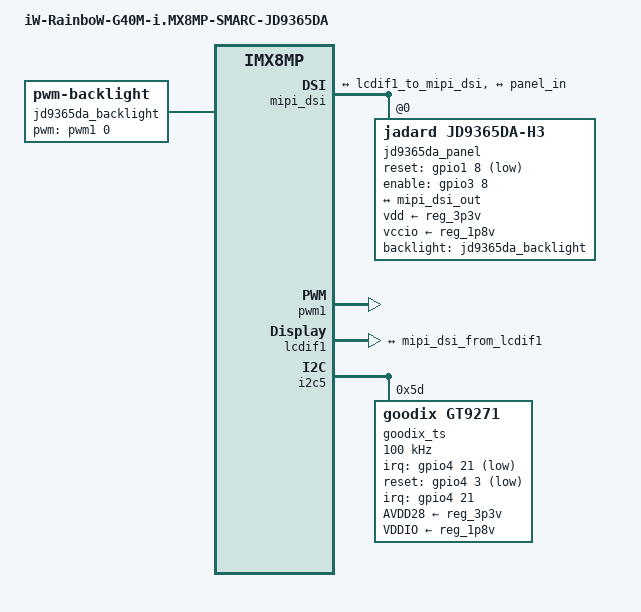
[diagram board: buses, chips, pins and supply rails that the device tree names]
// SPDX-License-Identifier: (GPL-2.0+ OR MIT)
/*
 * Copyright (C) 2024 iWave Systems Technologies Pvt Ltd.
 */

/dts-v1/;

#include "imx8mp-iwg40d-prgwd.dts"

/ {
	model = "iW-RainboW-G40M-i.MX8MP-SMARC-JD9365DA";
	compatible = "fsl,imx8mp-iwg40m", "fsl,imx8mp";

	/* JD9365DA 전용 백라이트 */
	/*
	jd9365da_backlight: jd9365da_backlight {
		compatible = "pwm-backlight";
		pwms = <&pwm1 0 100000 0>;
		power-supply = <&reg_1p8v>;
		status = "okay";
		
		brightness-levels = <0 1 2 3 4 5 6 7 8 9 10 11 12 13 14 15 16 17 18 19 20>;
		default-brightness-level = <15>;
	};
	*/
	/* JD9365DA 전용 백라이트 - 수정된 설정 */
	jd9365da_backlight: jd9365da_backlight {
		compatible = "pwm-backlight";
		
		//pwms = <&pwm1 0 50000 0>;		/* 20kHz (50000ns) - 깜빡임 방지 */
		pwms = <&pwm1 0 25000 0>;       // 40kHz

		//power-supply = <&reg_1p8v>;
		status = "okay";
		
		/* 0-100 범위로 확장 (101단계) */
		//brightness-levels = < 0  1  2  3  4  5  6  7  8  9
		//                     10 11 12 13 14 15 16 17 18 19
		//                     20 21 22 23 24 25 26 27 28 29
		//                     30 31 32 33 34 35 36 37 38 39
		//                     40 41 42 43 44 45 46 47 48 49
		//                     50 51 52 53 54 55 56 57 58 59
		//                     60 61 62 63 64 65 66 67 68 69
		//                     70 71 72 73 74 75 76 77 78 79
		//                     80 81 82 83 84 85 86 87 88 89
		//                     90 91 92 93 94 95 96 97 98 99
		//                    100>;
		//default-brightness-level = <70>;	/* 70% 기본 밝기 */
		brightness-levels = <
			  0  20  20  21  21  22  22  23
			 23  24  24  25  25  26  26  27
			 27  28  28  29  29  30  30  31
			 31  32  32  33  33  34  34  35
			 35  36  36  37  37  38  38  39
			 40  41  42  43  44  45  46  47
			 48  49  50  51  52  53  54  55
			 56  57  58  59  60  61  62  63
			 64  65  66  67  68  69  70  71
			 72  73  74  75  76  77  78  79
			 80  81  82  83  84  85  86  87
			 88  89  90  91  92  93  94  95
			 96  97  98  99 100 101 102 103
			104 105 106 107 108 109 110 111
			112 113 114 115 116 117 118 119
			120 121 122 123 124 125 126 127
			128 129 130 131 132 133 134 135
			136 137 138 139 140 141 142 143
			144 145 146 147 148 149 150 151
			152 153 154 155 156 157 158 159
			160 161 162 163 164 165 166 167
			168 169 170 171 172 173 174 175
			176 177 178 179 180 181 182 183
			184 185 186 187 188 189 190 191
			192 193 194 195 196 197 198 199
			200 201 202 203 204 205 206 207
			208 209 210 211 212 213 214 215
			216 217 218 219 220 221 222 223
			224 225 226 227 228 229 230 231
			232 233 234 235 236 237 238 239
			240 241 242 243 244 245 246 247
			248 249 250 251 252 253 254 255
		>;
		default-brightness-level = <255>;
		//default-brightness-level = <50>;
		//default-brightness-level = <200>;
		//default-brightness-level = <15>;    // 약 60% 밝기
		
		/* 추가 백라이트 속성 */
		enable-delay-ms = <10>;
		disable-delay-ms = <10>;
		//enable-delay-ms = <100>;            // 안정화 시간 추가
    	//disable-delay-ms = <100>;
	};
};

/* HDMI 비활성화 (MIPI DSI 사용) */
&irqsteer_hdmi {
	status = "disabled";
};

&hdmi_blk_ctrl {
	status = "disabled";
};

&hdmi {
	status = "disabled";
};

&hdmiphy {
	status = "disabled";
};

&lcdif3 {
	status = "disabled";
};

&lcdif2 {
	status = "disabled";
};

&ldb {
	status = "disabled";
};

&ldb_phy {
	status = "disabled";
};

/* MIPI DSI - JD9365DA */
&mipi_dsi {
	status = "okay";
	//fsl,clock-drop-level = <2>;
	fsl,clock-drop-level = <2>;
	assigned-clocks = <&clk IMX8MP_CLK_MEDIA_MIPI_PHY1_REF>;
    assigned-clock-rates = <24000000>;

	// 더 안정적인 초기화를 위한 추가 설정
    panel-supply = <&reg_3p3v>;

	jd9365da_panel: panel@0 {
		compatible = "jadard,jd9365da-h3";
		reg = <0>;
		dsi-lanes = <4>;
		video-mode = <2>;
		//video-mode = <0>;
		/* 0: burst mode
		 * 1: non-burst mode with sync event
		 * 2: non-burst mode with sync pulse 
		 */

		width-mm = <154>;
		height-mm = <85>;

		vdd-supply = <&reg_3p3v>;		/* 기존 3.3V regulator 사용 */
		vccio-supply = <&reg_1p8v>;		/* 기존 1.8V regulator 사용 */
		
		/* pinctrl 설정 추가 */
        pinctrl-names = "default";
        pinctrl-0 = <&pinctrl_jd9365da_gpio>;

		//reset-gpios = <&gpio1 9 GPIO_ACTIVE_LOW>;
		//enable-gpios = <&gpio3 8 GPIO_ACTIVE_HIGH>;
		reset-gpios = <&gpio1 8 GPIO_ACTIVE_LOW>;    // GPIO1_IO08 (P126 RESET_OUT#)
		enable-gpios = <&gpio3 8 GPIO_ACTIVE_HIGH>;  // GPIO3_IO08 (S133 LCD0_VDD_EN)
		
		backlight = <&jd9365da_backlight>;
		
		status = "okay";

		port {
			panel_in: endpoint {
				remote-endpoint = <&mipi_dsi_out>;
			};
		};
	};

	/* MIPI DSI controller의 양방향 포트 정의 */
	ports {
		#address-cells = <1>;
		#size-cells = <0>;
	
		/* 입력 포트: LCDIF1에서 받음 */
		port@0 {
			reg = <0>;
			mipi_dsi_from_lcdif1: endpoint {
				remote-endpoint = <&lcdif1_to_mipi_dsi>;
			};
		};
	
		/* 출력 포트: 패널로 전송 */
		port@1 {
			reg = <1>;
			mipi_dsi_out: endpoint {
				remote-endpoint = <&panel_in>;
			};
		};
	};
};

/* PWM1 for JD9365DA backlight */
&pwm1 {
	pinctrl-names = "default";
	pinctrl-0 = <&pinctrl_pwm1>;
	status = "okay";
};

/*LCD Display controller*/
&lcdif1 {
	status = "okay";

	/* LCDIF1 → MIPI-DSI 연결 정의 */
	port {
		lcdif1_to_mipi_dsi: endpoint {
			remote-endpoint = <&mipi_dsi_from_lcdif1>;
		};
	};
};

/* GT9271 Touch */
&i2c5 {

	//clock-frequency = <100000>;  // 400kHz → 100kHz로 낮춤 (안정성)
    //pinctrl-names = "default";
    //pinctrl-0 = <&pinctrl_i2c5>;
    //status = "okay";

	goodix_ts@5d {
	//goodix_ts@14 {
		compatible = "goodix,gt9271";
		//compatible = "goodix,gt911";  // gt9271 대신 gt911 사용
		
		reg = <0x5d>;
		//reg = <0x14>;

		clock-frequency = <100000>; // 400kHz → 100kHz
		
		pinctrl-names = "default";
		pinctrl-0 = <&pinctrl_ts_goodix>;

		// 전원 공급 추가
        AVDD28-supply = <&reg_3p3v>;  // VDD_CTSP
        VDDIO-supply = <&reg_1p8v>;   // VCC_1V8
		
		interrupt-parent = <&gpio4>;
		//interrupts = <21 IRQ_TYPE_EDGE_FALLING>;
		interrupts = <21 IRQ_TYPE_LEVEL_LOW>;     // EDGE → LEVEL로 변경
		irq-gpios = <&gpio4 21 GPIO_ACTIVE_LOW>;
		reset-gpios = <&gpio4 3 GPIO_ACTIVE_LOW>;
		
		touchscreen-size-x = <800>;
		touchscreen-size-y = <1280>;
		touchscreen-max-id = <10>;
		
		//touchscreen-max-pressure = <1024>;
    	//touchscreen-fuzz-x = <4>;
    	//touchscreen-fuzz-y = <4>;
    	//touchscreen-fuzz-pressure = <2>;
		
		status = "okay";
	};
};

&iomuxc {
	pinctrl_pwm1: pwm1grp {
		fsl,pins = <
			MX8MP_IOMUXC_I2C4_SDA__PWM1_OUT        0x116
		>;
	};

	pinctrl_ts_goodix: ts-goodix {
		fsl,pins = <
			MX8MP_IOMUXC_SAI2_RXFS__GPIO4_IO21     0x1c4  /* Touch IRQ */
			MX8MP_IOMUXC_SAI1_RXD1__GPIO4_IO03     0x1c4  /* Touch Reset */
			//MX8MP_IOMUXC_SAI2_RXFS__GPIO4_IO21     0x1c6  /* Touch IRQ - pull-up */
        	//MX8MP_IOMUXC_SAI1_RXD1__GPIO4_IO03     0x146  /* Touch Reset - pull-down */
		>;
	};

	pinctrl_jd9365da_gpio: jd9365da-gpio-grp {
		fsl,pins = <
			MX8MP_IOMUXC_GPIO1_IO08__GPIO1_IO08     0x1c4  /* LCD Reset */
			MX8MP_IOMUXC_NAND_DATA02__GPIO3_IO08    0x1c4  /* LCD Enable */
			//MX8MP_IOMUXC_GPIO1_IO08__GPIO1_IO08     0x146  /* LCD Reset - pull-down */
        	//MX8MP_IOMUXC_NAND_DATA02__GPIO3_IO08    0x146  /* LCD Enable - pull-down */
		>;
	};
};
